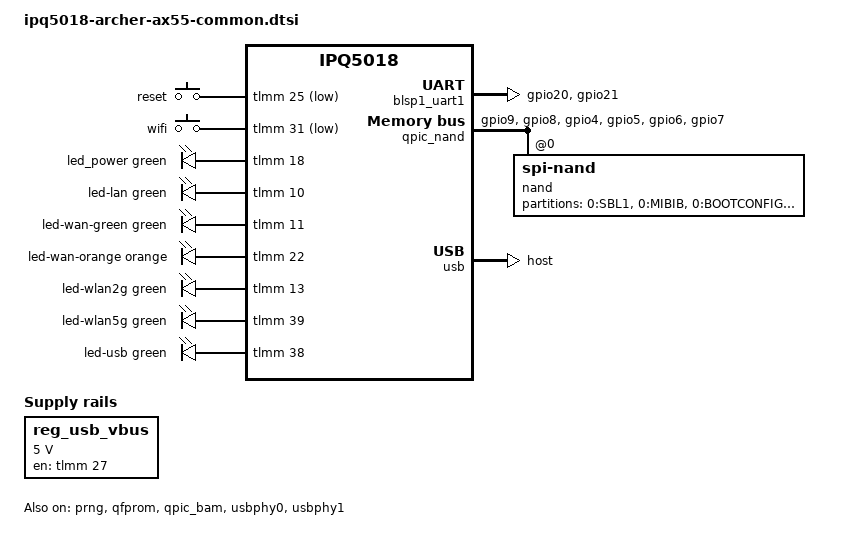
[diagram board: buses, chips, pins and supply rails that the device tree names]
// SPDX-License-Identifier: GPL-2.0-or-later OR MIT

#include "ipq5018.dtsi"

#include <dt-bindings/gpio/gpio.h>
#include <dt-bindings/input/input.h>
#include <dt-bindings/leds/common.h>

/ {
	aliases {
		serial0 = &blsp1_uart1;
		led-boot = &led_power;
		led-failsafe = &led_power;
		led-running = &led_power;
		led-upgrade = &led_power;
	};

	chosen {
		stdout-path = "serial0:115200n8";
		bootargs-append = " root=/dev/ubiblock0_1 coherent_pool=2M";
	};

	keys {
		compatible = "gpio-keys";
		pinctrl-0 = <&button_pins>;
		pinctrl-names = "default";

		button-reset {
			label = "reset";
			gpios = <&tlmm 25 GPIO_ACTIVE_LOW>;
			linux,code = <KEY_RESTART>;
		};

		/* the case labels this "WPS/Wi-Fi"; stock treats it as a
		 * wifi toggle (KEY_WLAN) - use rfkill, the OpenWrt idiom */
		button-wifi {
			label = "wifi";
			gpios = <&tlmm 31 GPIO_ACTIVE_LOW>;
			linux,code = <KEY_RFKILL>;
		};
	};

	leds {
		compatible = "gpio-leds";
		pinctrl-0 = <&led_pins>;
		pinctrl-names = "default";

		/*
		 * LED GPIOs confirmed against the stock device tree. GPIO39 is
		 * the 5 GHz WLAN LED (the OEM "reset_gpio 39" in the switch
		 * node is bogus - the real RTL8367S reset is GPIO33).
		 */
		led_power: led-power {
			color = <LED_COLOR_ID_GREEN>;
			function = LED_FUNCTION_POWER;
			gpios = <&tlmm 18 GPIO_ACTIVE_HIGH>;
		};

		led-lan {
			color = <LED_COLOR_ID_GREEN>;
			function = LED_FUNCTION_LAN;
			gpios = <&tlmm 10 GPIO_ACTIVE_HIGH>;
		};

		led-wan-green {
			color = <LED_COLOR_ID_GREEN>;
			function = LED_FUNCTION_WAN_ONLINE;
			gpios = <&tlmm 11 GPIO_ACTIVE_HIGH>;
		};

		led-wan-orange {
			color = <LED_COLOR_ID_ORANGE>;
			function = LED_FUNCTION_WAN;
			gpios = <&tlmm 22 GPIO_ACTIVE_HIGH>;
		};

		led-wlan2g {
			color = <LED_COLOR_ID_GREEN>;
			function = LED_FUNCTION_WLAN_2GHZ;
			gpios = <&tlmm 13 GPIO_ACTIVE_HIGH>;
		};

		led-wlan5g {
			color = <LED_COLOR_ID_GREEN>;
			function = LED_FUNCTION_WLAN_5GHZ;
			gpios = <&tlmm 39 GPIO_ACTIVE_HIGH>;
		};

		led-usb {
			color = <LED_COLOR_ID_GREEN>;
			function = LED_FUNCTION_USB;
			gpios = <&tlmm 38 GPIO_ACTIVE_HIGH>;
			trigger-sources = <&usb_port1>;
			linux,default-trigger = "usbport";
		};
	};

	/* vendor "usb_enabled" GPIO - switches the USB port's VBUS rail */
	reg_usb_vbus: regulator-usb-vbus {
		compatible = "regulator-fixed";
		regulator-name = "usb_vbus";
		regulator-min-microvolt = <5000000>;
		regulator-max-microvolt = <5000000>;
		gpios = <&tlmm 27 GPIO_ACTIVE_HIGH>;
		enable-active-high;
	};
};

&sleep_clk {
	clock-frequency = <32000>;
};

&xo_board_clk {
	clock-div = <4>;
	clock-mult = <1>;
};

&blsp1_uart1 {
	pinctrl-0 = <&serial_0_pins>;
	pinctrl-names = "default";
	status = "okay";
};

&prng {
	status = "okay";
};

&qfprom {
	status = "okay";
};

&qpic_bam {
	status = "okay";
};

&qpic_nand {
	pinctrl-0 = <&qpic_pins>;
	pinctrl-names = "default";
	status = "okay";

	nand@0 {
		compatible = "spi-nand";
		reg = <0>;

		nand-ecc-engine = <&qpic_nand>;
		nand-ecc-strength = <4>;
		nand-ecc-step-size = <512>;
		nand-bus-width = <8>;

		partitions {
			compatible = "fixed-partitions";
			#address-cells = <1>;
			#size-cells = <1>;

			partition@0 {
				label = "0:SBL1";
				reg = <0x0 0x80000>;
				read-only;
			};

			partition@80000 {
				label = "0:MIBIB";
				reg = <0x80000 0x80000>;
				read-only;
			};

			partition@100000 {
				label = "0:BOOTCONFIG";
				reg = <0x100000 0x40000>;
				read-only;
			};

			partition@140000 {
				label = "0:BOOTCONFIG1";
				reg = <0x140000 0x40000>;
				read-only;
			};

			partition@180000 {
				label = "0:QSEE";
				reg = <0x180000 0x100000>;
				read-only;
			};

			partition@280000 {
				label = "0:DEVCFG";
				reg = <0x280000 0x40000>;
				read-only;
			};

			partition@2c0000 {
				label = "0:CDT";
				reg = <0x2c0000 0x40000>;
				read-only;
			};

			partition@300000 {
				label = "0:APPSBLENV";
				reg = <0x300000 0x80000>;
			};

			partition@380000 {
				label = "0:APPSBL";
				reg = <0x380000 0x140000>;
				read-only;
			};

			partition@4c0000 {
				label = "0:ART";
				reg = <0x4c0000 0x100000>;
				read-only;
			};

			partition@5c0000 {
				label = "0:TRAINING";
				reg = <0x5c0000 0x80000>;
				read-only;
			};

			partition@640000 {
				label = "rootfs";
				reg = <0x640000 0x2a00000>;
			};

			partition@3040000 {
				label = "rootfs_1";
				reg = <0x3040000 0x2a00000>;
			};

			partition@5a40000 {
				label = "tp_data";
				reg = <0x5a40000 0x840000>;
				read-only;
			};

			partition@6280000 {
				label = "radio";
				reg = <0x6280000 0x440000>;
				read-only;
			};

			partition@66c0000 {
				label = "data";
				reg = <0x66c0000 0x80000>;
			};
		};
	};
};

&usbphy0 {
	status = "okay";
};

&usbphy1 {
	status = "okay";

	vdd-supply = <&reg_usb_vbus>;
};

&usb {
	status = "okay";

	#address-cells = <1>;
	#size-cells = <0>;
	dr_mode = "host";

	usb_port1: port@1 {
		reg = <1>;
		#trigger-source-cells = <0>;
	};
};

&tlmm {
	button_pins: button-state {
		pins = "gpio25", "gpio31";
		function = "gpio";
		drive-strength = <8>;
		bias-pull-up;
	};

	led_pins: led-state {
		pins = "gpio10", "gpio11", "gpio13", "gpio18", "gpio22",
		       "gpio38", "gpio39";
		function = "gpio";
		drive-strength = <2>;
		bias-disable;
	};

	mdio1_pins: mdio1-state {
		mdc-pins {
			pins = "gpio36";
			function = "mdc";
			drive-strength = <8>;
			bias-pull-up;
		};

		mdio-pins {
			pins = "gpio37";
			function = "mdio";
			drive-strength = <8>;
			bias-pull-up;
		};
	};

	qpic_pins: qpic-state {
		clock-pins {
			pins = "gpio9";
			function = "qspi_clk";
			drive-strength = <8>;
			bias-disable;
		};

		cs-pins {
			pins = "gpio8";
			function = "qspi_cs";
			drive-strength = <8>;
			bias-disable;
		};

		data-pins {
			pins = "gpio4", "gpio5", "gpio6", "gpio7";
			function = "qspi_data";
			drive-strength = <8>;
			bias-disable;
		};
	};

	serial_0_pins: uart0-state {
		pins = "gpio20", "gpio21";
		function = "blsp0_uart0";
		bias-disable;
	};
};
